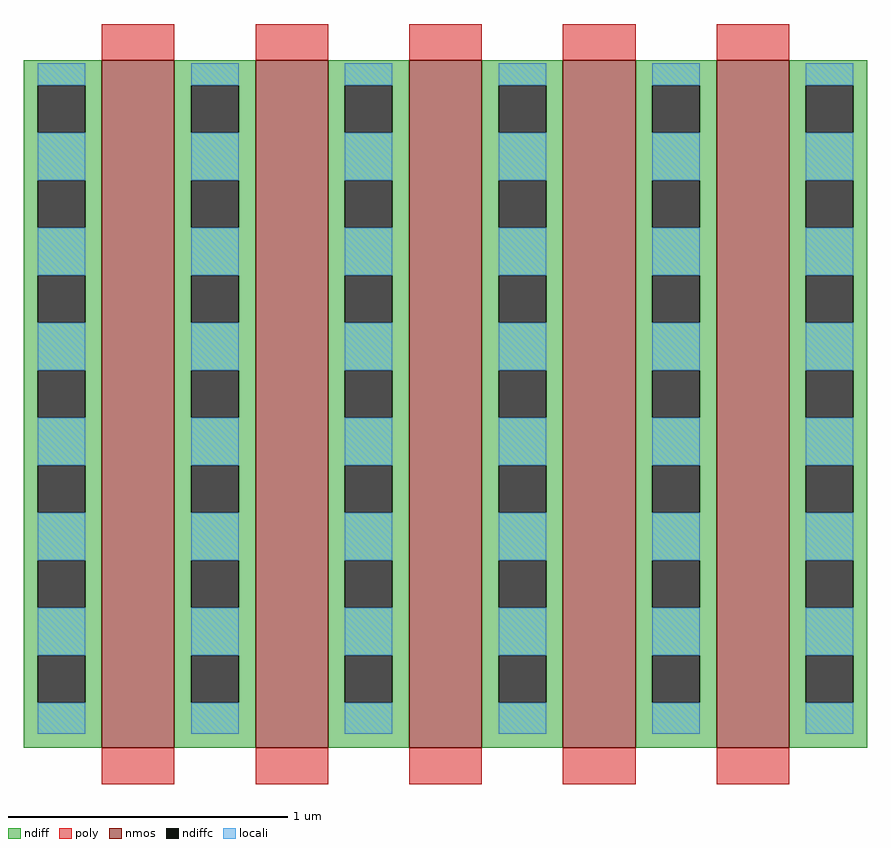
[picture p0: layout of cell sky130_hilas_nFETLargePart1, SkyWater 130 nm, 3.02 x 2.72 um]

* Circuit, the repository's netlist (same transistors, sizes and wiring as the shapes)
* Copyright 2020 The Hilas PDK Authors
* 
* This file is part of HILAS.
* 
* HILAS is free software: you can redistribute it and/or modify
* it under the terms of the GNU Lesser General Public License as published by
* the Free Software Foundation, version 3 of the License.
* 
* HILAS is distributed in the hope that it will be useful,
* but WITHOUT ANY WARRANTY; without even the implied warranty of
* MERCHANTABILITY or FITNESS FOR A PARTICULAR PURPOSE.  See the
* GNU Lesser General Public License for more details.
* 
* You should have received a copy of the GNU Lesser General Public License
* along with HILAS.  If not, see <https://www.gnu.org/licenses/>.
* 
* Licensed under the Lesser General Public License, Version 3.0 (the "License");
* you may not use this file except in compliance with the License.
* You may obtain a copy of the License at
* 
* https://www.gnu.org/licenses/lgpl-3.0.en.html
* 
* Unless required by applicable law or agreed to in writing, software
* distributed under the License is distributed on an "AS IS" BASIS,
* WITHOUT WARRANTIES OR CONDITIONS OF ANY KIND, either express or implied.
* See the License for the specific language governing permissions and
* limitations under the License.
* 
* SPDX-License-Identifier: LGPL-3.0
* 
* 

* NGSPICE file created from sky130_hilas_nFETLargePart1.ext - technology: sky130A

.subckt sky130_hilas_nFETmed SUB a_84_n62# a_n24_n62#
X0 a_84_n62# a_32_n88# a_n24_n62# SUB sky130_fd_pr__nfet_01v8 w=2.46e+06u l=260000u
.ends


* Top level circuit sky130_hilas_nFETLargePart1

Xsky130_hilas_nFETmed_0 SUB sky130_hilas_nFETmed_0/a_84_n62# sky130_hilas_nFETmed_4/a_84_n62#
+ sky130_hilas_nFETmed
Xsky130_hilas_nFETmed_1 SUB sky130_hilas_nFETmed_1/a_84_n62# sky130_hilas_nFETmed_0/a_84_n62#
+ sky130_hilas_nFETmed
Xsky130_hilas_nFETmed_2 SUB sky130_hilas_nFETmed_2/a_84_n62# sky130_hilas_nFETmed_1/a_84_n62#
+ sky130_hilas_nFETmed
Xsky130_hilas_nFETmed_3 SUB sky130_hilas_nFETmed_3/a_84_n62# sky130_hilas_nFETmed_2/a_84_n62#
+ sky130_hilas_nFETmed
Xsky130_hilas_nFETmed_4 SUB sky130_hilas_nFETmed_4/a_84_n62# sky130_hilas_nFETmed_4/a_n24_n62#
+ sky130_hilas_nFETmed
.end

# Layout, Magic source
magic
tech sky130A
use sky130_hilas_nFETmed  sky130_hilas_nFETmed_3
transform 1 0 220 0 1 0
box 0 0 82 272
use sky130_hilas_nFETmed  sky130_hilas_nFETmed_4
transform 1 0 0 0 1 0
box 0 0 82 272
use sky130_hilas_nFETmed  sky130_hilas_nFETmed_0
transform 1 0 55 0 1 0
box 0 0 82 272
use sky130_hilas_nFETmed  sky130_hilas_nFETmed_1
transform 1 0 110 0 1 0
box 0 0 82 272
use sky130_hilas_nFETmed  sky130_hilas_nFETmed_2
transform 1 0 165 0 1 0
box 0 0 82 272
<< properties >>
string LEFsite unithd
string LEFclass CORE
string LEFsymmetry X Y R90
<< end >>

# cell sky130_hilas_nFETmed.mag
magic
tech sky130A
<< nmos >>
rect 28 13 54 259
<< ndiff >>
rect 0 250 28 259
rect 0 233 5 250
rect 22 233 28 250
rect 0 216 28 233
rect 0 199 5 216
rect 22 199 28 216
rect 0 182 28 199
rect 0 165 5 182
rect 22 165 28 182
rect 0 148 28 165
rect 0 131 5 148
rect 22 131 28 148
rect 0 114 28 131
rect 0 97 5 114
rect 22 97 28 114
rect 0 80 28 97
rect 0 63 5 80
rect 22 63 28 80
rect 0 46 28 63
rect 0 29 5 46
rect 22 29 28 46
rect 0 13 28 29
rect 54 250 82 259
rect 54 233 60 250
rect 77 233 82 250
rect 54 216 82 233
rect 54 199 60 216
rect 77 199 82 216
rect 54 182 82 199
rect 54 165 60 182
rect 77 165 82 182
rect 54 148 82 165
rect 54 131 60 148
rect 77 131 82 148
rect 54 114 82 131
rect 54 97 60 114
rect 77 97 82 114
rect 54 80 82 97
rect 54 63 60 80
rect 77 63 82 80
rect 54 46 82 63
rect 54 29 60 46
rect 77 29 82 46
rect 54 13 82 29
<< ndiffc >>
rect 5 233 22 250
rect 5 199 22 216
rect 5 165 22 182
rect 5 131 22 148
rect 5 97 22 114
rect 5 63 22 80
rect 5 29 22 46
rect 60 233 77 250
rect 60 199 77 216
rect 60 165 77 182
rect 60 131 77 148
rect 60 97 77 114
rect 60 63 77 80
rect 60 29 77 46
<< poly >>
rect 28 259 54 272
rect 28 0 54 13
<< locali >>
rect 5 250 22 258
rect 5 216 22 233
rect 5 182 22 199
rect 5 148 22 165
rect 5 114 22 131
rect 5 80 22 97
rect 5 46 22 63
rect 5 18 22 29
rect 60 250 77 258
rect 60 216 77 233
rect 60 182 77 199
rect 60 148 77 165
rect 60 114 77 131
rect 60 80 77 97
rect 60 46 77 63
rect 60 18 77 29
<< properties >>
string LEFsite unithd
string LEFclass CORE
string LEFsymmetry X Y R90
<< end >>
